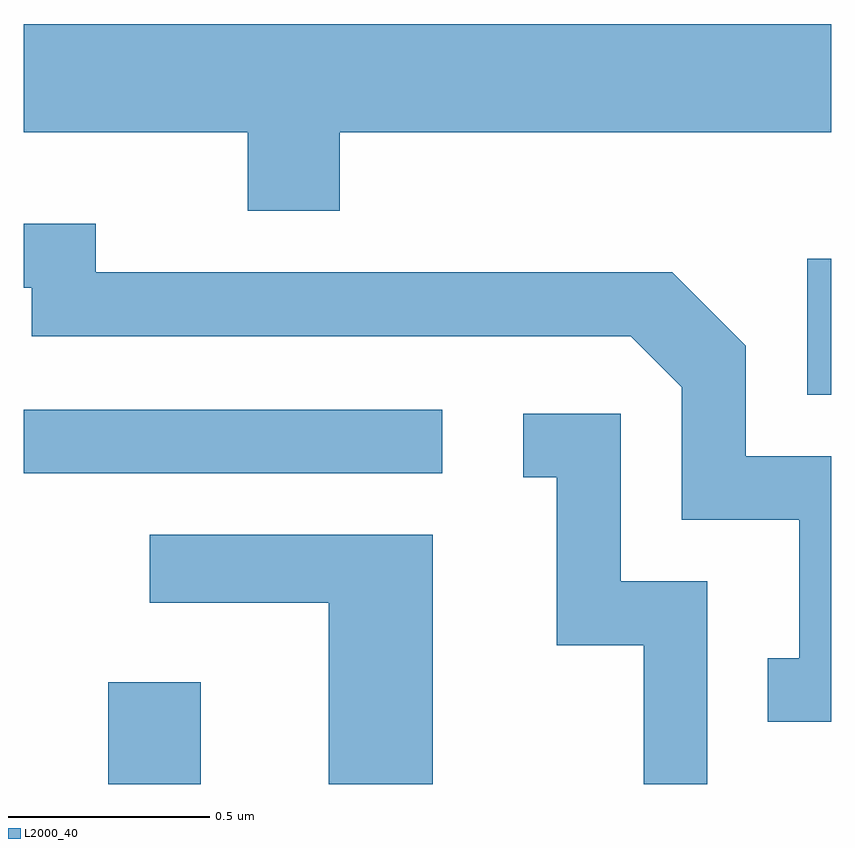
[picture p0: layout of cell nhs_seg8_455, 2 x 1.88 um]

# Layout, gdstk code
import gdstk
lib = gdstk.Library(unit=1e-6, precision=1e-09)
def R(c, l, rs):  # rectangles x0, y0, x1, y1
    for r in rs: c.add(gdstk.rectangle(r[:2], r[2:], *l))
def P(c, l, *ps):  # polygons
    for p in ps: c.add(gdstk.Polygon(p, *l))
L2000_40 = (2000, 40)

nhs_seg8_455 = lib.new_cell('nhs_seg8_455')
R(nhs_seg8_455, L2000_40, [(188.821,1850.342,189.049,1850.594), (188.611,1851.111,189.648,1851.269), (190.551,1851.306,190.611,1851.643)])
P(nhs_seg8_455, L2000_40, [(189.394,1851.956),(190.611,1851.956),(190.611,1852.224),(188.611,1852.224),(188.611,1851.956),(189.166,1851.956),(189.166,1851.761),(189.394,1851.761)],
  [(190.611,1851.154),(190.399,1851.154),(190.399,1851.427),(190.217,1851.609),(188.789,1851.609),(188.789,1851.729),(188.611,1851.729),(188.611,1851.571),(188.631,1851.571),(188.631,1851.451),(190.114,1851.451),(190.241,1851.324),(190.241,1850.996),(190.531,1850.996),(190.531,1850.654),(190.453,1850.654),(190.453,1850.496),(190.611,1850.496)],
  [(190.304,1850.844),(190.089,1850.844),(190.089,1851.259),(189.848,1851.259),(189.848,1851.101),(189.931,1851.101),(189.931,1850.686),(190.146,1850.686),(190.146,1850.342),(190.304,1850.342)],
  [(189.624,1850.959),(188.923,1850.959),(188.923,1850.791),(189.366,1850.791),(189.366,1850.342),(189.624,1850.342)])

lib.write_gds('nhs_seg8_455.gds')
